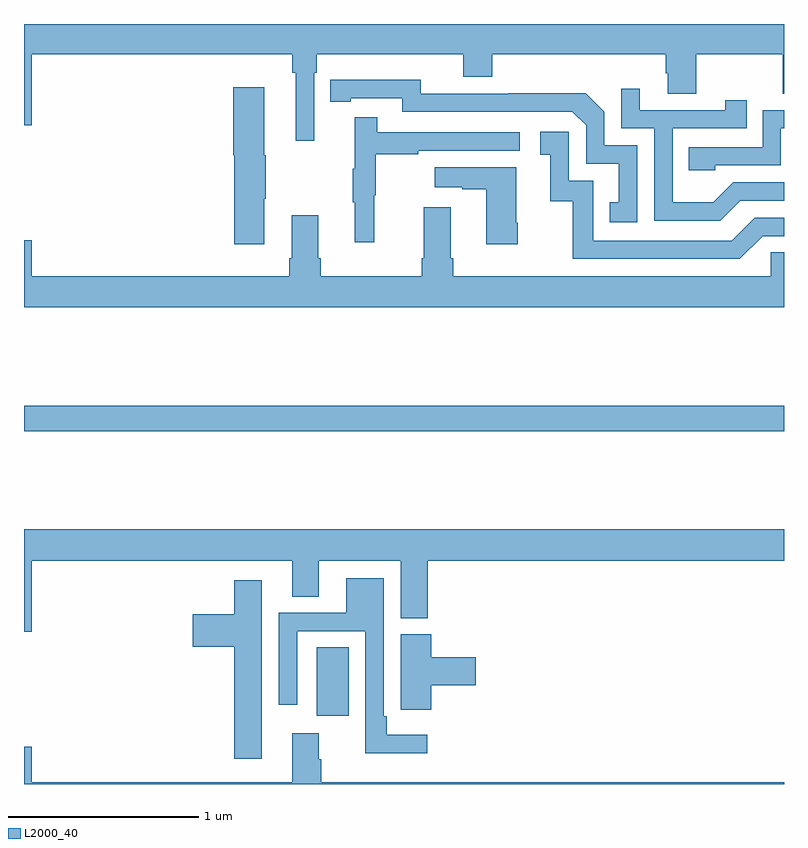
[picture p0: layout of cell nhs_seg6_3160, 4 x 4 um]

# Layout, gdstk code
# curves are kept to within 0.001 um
import gdstk
lib = gdstk.Library(unit=1e-6, precision=1e-09)
def R(c, l, rs):  # rectangles x0, y0, x1, y1
    for r in rs: c.add(gdstk.rectangle(r[:2], r[2:], *l))
def P(c, l, *ps):  # polygons
    for p in ps: c.add(gdstk.Polygon(p, *l))
L2000_40 = (2000, 40)

nhs_seg6_3160 = lib.new_cell('nhs_seg6_3160')
R(nhs_seg6_3160, L2000_40, [(298.541,939.858,298.708,940.22), (297,941.356,301,941.492)])
P(nhs_seg6_3160, L2000_40, [(298.527,943.244),(298.541,943.244),(298.541,943.34),(299.312,943.34),(299.312,943.223),(299.465,943.223),(299.465,943.34),(300.377,943.34),(300.377,943.242),(300.389,943.242),(300.389,943.132),(300.537,943.132),(300.537,943.34),(300.994,943.34),(300.994,943.132),(301,943.132),(301,943.5),(297,943.5),(297,942.966),(297.04,942.966),(297.04,943.34),(298.411,943.34),(298.411,943.244),(298.43,943.244),(298.43,942.885),(298.527,942.885)],
  [(300.228,942.861),(300.054,942.861),(300.054,943.038),(299.956,943.136),(299.548,943.136),(299.548,943.134),(299.088,943.134),(299.088,943.207),(298.612,943.206),(298.612,943.09),(298.72,943.09),(298.72,943.11),(298.992,943.11),(298.992,943.038),(299.886,943.038),(299.958,942.966),(299.958,942.765),(300.131,942.765),(300.131,942.561),(300.082,942.561),(300.082,942.456),(300.228,942.456)],
  [(298.264,942.58),(298.272,942.58),(298.272,942.81),(298.264,942.81),(298.264,943.168),(298.1,943.168),(298.1,942.81),(298.106,942.81),(298.106,942.342),(298.264,942.342)],
  [(300.769,942.57),(301,942.57),(301,942.666),(300.732,942.666),(300.628,942.562),(300.414,942.562),(300.414,942.951),(300.803,942.951),(300.803,943.099),(300.692,943.099),(300.692,943.047),(300.241,943.047),(300.241,943.159),(300.144,943.159),(300.144,942.951),(300.318,942.951),(300.318,942.465),(300.664,942.465)],
  [(300.639,942.756),(300.984,942.756),(300.984,942.951),(301,942.951),(301,943.047),(300.888,943.047),(300.888,942.852),(300.499,942.852),(300.499,942.729),(300.639,942.729)],
  [(298.844,942.6),(298.852,942.6),(298.852,942.814),(299.075,942.814),(299.075,942.834),(299.608,942.834),(299.608,942.93),(298.859,942.93),(298.859,943.009),(298.742,943.009),(298.742,942.737),(298.731,942.737),(298.731,942.563),(298.742,942.563),(298.742,942.351),(298.844,942.351)],
  [(300.888,942.384),(301,942.384),(301,942.48),(300.846,942.48),(300.726,942.36),(299.997,942.36),(299.997,942.675),(299.868,942.675),(299.868,942.934),(299.718,942.934),(299.718,942.813),(299.771,942.813),(299.771,942.567),(299.889,942.567),(299.889,942.264),(300.768,942.264)],
  [(299.598,942.454),(299.59,942.454),(299.59,942.745),(299.163,942.745),(299.163,942.641),(299.306,942.641),(299.306,942.631),(299.432,942.631),(299.432,942.342),(299.598,942.342)],
  [(301,942.299),(300.93,942.299),(300.93,942.172),(299.258,942.172),(299.258,942.268),(299.245,942.268),(299.245,942.535),(299.105,942.535),(299.105,942.268),(299.093,942.268),(299.093,942.172),(298.562,942.172),(298.562,942.268),(298.549,942.268),(298.549,942.493),(298.409,942.493),(298.409,942.268),(298.397,942.268),(298.397,942.172),(297.04,942.172),(297.04,942.361),(297,942.361),(297,942.008),(301,942.008)],
  [(297.04,940.676),(298.412,940.676),(298.412,940.486),(298.552,940.486),(298.552,940.676),(298.982,940.676),(298.982,940.372),(299.126,940.372),(299.126,940.676),(301,940.676),(301,940.84),(297,940.84),(297,940.302),(297.04,940.302)],
  [(299.122,939.76),(298.909,939.76),(298.909,939.856),(298.893,939.856),(298.893,940.582),(298.697,940.582),(298.697,940.401),(298.341,940.401),(298.341,939.918),(298.437,939.918),(298.437,940.305),(298.797,940.305),(298.797,939.662),(299.122,939.662)],
  [(298.252,940.573),(298.106,940.573),(298.106,940.393),(297.888,940.393),(297.888,940.223),(298.106,940.223),(298.106,939.633),(298.252,939.633)],
  [(299.144,940.019),(299.377,940.019),(299.377,940.166),(299.144,940.166),(299.144,940.287),(298.982,940.287),(298.982,940.003),(298.983,940.003),(298.983,939.891),(299.144,939.891)],
  [(301,939.508),(298.565,939.508),(298.565,939.629),(298.552,939.629),(298.552,939.766),(298.412,939.766),(298.412,939.508),(297.04,939.508),(297.04,939.697),(297,939.697),(297,939.5),(301,939.5)])

lib.write_gds('nhs_seg6_3160.gds')
